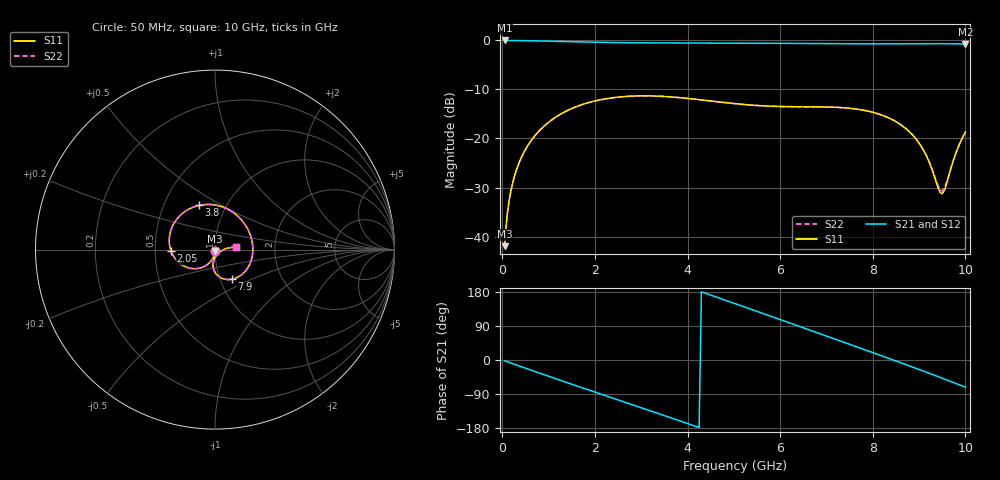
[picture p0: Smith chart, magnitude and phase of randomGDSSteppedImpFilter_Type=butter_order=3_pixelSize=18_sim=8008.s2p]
! freq	dB(S11)	phase(S11)	dB(S12)	phase(S12)
!  dB(S21)	phase(S21)	dB(S22)	phase(S22)
!S-par simulation data
#  GHz  S  DB  R 50
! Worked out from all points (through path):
!   200 points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, 50 MHz to 10 GHz, reference 50 ohm
!   highest |S21| = 0.00 dB at 50 MHz (marker M1); lowest = -0.7 dB at 10 GHz (marker M2)
!   group delay of S21, straight-line fit = 119 ps
!   lowest |S11| = -42.0 dB at 50 MHz (marker M3), VSWR 1.02, Z = 50 - j0.797 ohm
!   |S11| at or under -10 dB: start of sweep to end of sweep
!   |S22| runs from -42.0 to -11.3 dB; largest |S21 - S12| = 0
!   S11 on the Smith chart (normalised r, x): 50 MHz: 1.00, -0.02; 2.05 GHz: 0.61, -0.01; 3.8 GHz: 0.75, +0.40; 7.9 GHz: 1.14, -0.39; 10 GHz: 1.26, +0.04
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0.05  -41.96 -91.8  -0.00 -2.2  -0.00 -2.2  -41.96 -91.8
0.1  -35.97 -94.1  -0.01 -4.4  -0.01 -4.4  -35.97 -94.1
0.2  -30.02 -98.7  -0.02 -8.7  -0.02 -8.7  -30.02 -98.7
0.35  -25.25 -105.5  -0.03 -15.1  -0.03 -15.1  -25.25 -105.5
0.5  -22.24 -112.1  -0.05 -21.6  -0.05 -21.6  -22.24 -112.1
1  -16.69 -133.7  -0.14 -42.9  -0.14 -42.9  -16.69 -133.6
1.75  -13.00 -165.2  -0.31 -74.3  -0.31 -74.3  -13.00 -165.2
2.05  -12.24 -177.7  -0.37 -86.7  -0.37 -86.7  -12.24 -177.6
2.7  -11.41 155.5  -0.46 -113.5  -0.46 -113.5  -11.41 155.5
3.4  -11.38 126.5  -0.51 -142.5  -0.51 -142.5  -11.38 126.6
3.8  -11.64 109.8  -0.52 -159.2  -0.52 -159.2  -11.64 109.9
4.4  -12.23 84.5  -0.53 175.5  -0.53 175.5  -12.23 84.7
5.05  -12.92 57.0  -0.54 147.8  -0.54 147.8  -12.92 57.3
5.9  -13.45 21.2  -0.58 111.1  -0.58 111.1  -13.45 21.6
6.3  -13.52 4.6  -0.61 93.8  -0.61 93.8  -13.52 4.9
6.7  -13.53 -12.0  -0.64 76.3  -0.64 76.3  -13.53 -11.6
7.25  -13.66 -34.5  -0.68 52.4  -0.68 52.4  -13.65 -34.1
7.9  -14.43 -60.5  -0.70 23.9  -0.70 23.9  -14.42 -60.0
8.35  -15.83 -77.8  -0.70 4.1  -0.70 4.1  -15.81 -77.2
9  -20.95 -97.3  -0.67 -25.0  -0.67 -25.0  -20.91 -96.3
9.5  -31.29 -42.7  -0.66 -48.0  -0.66 -48.0  -30.75 -42.9
10  -18.68 6.8  -0.73 -71.6  -0.73 -71.6  -18.65 6.0
